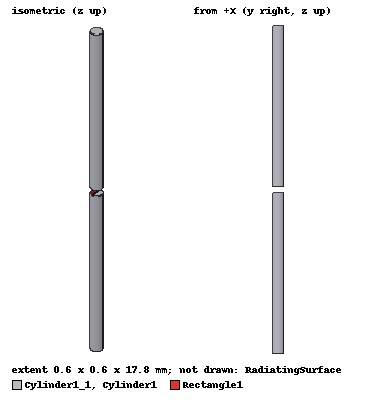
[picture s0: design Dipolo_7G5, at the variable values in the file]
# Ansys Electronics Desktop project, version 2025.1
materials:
  vacuum: permittivity=1
  pec: conductivity=1e+30

design Dipolo_7G5 (HFSS, HFSS Hybrid Terminal Network, model units mm)
options: open_region{BoundaryType=0 OpFreq=7.5GHz}
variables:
  gap = 0.3mm
  rad = 0.3mm
  arm_length = 8.75mm
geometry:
  RadiatingSurface [vacuum] = region(absolute_offset=13.333333mm on all sides)
  Cylinder1 [pec] = cylinder(axis=Z, base_centre=(0mm, 0mm, gap/2), radius=rad, height=arm_length)
  Cylinder1_1 [pec] = Cylinder1.duplicate_around_axis(axis=X, angle=180deg, total=2)
  Rectangle1 = rectangle(corner=(-rad, 0mm, -gap/2), z_size=gap, x_size=2*rad)
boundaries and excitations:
  AutoOpen1: Radiation Objects=RadiatingSurface
  Rectangle1_T1: Terminal port=1 Edges=Rectangle1.edge(at (0, 0, 0.15)) TerminalResistance=50ohm
  1: Lumped Port Faces=Rectangle1.face LumpedPortType=Terminal Impedance=50ohm
  reference conductors: Cylinder1_1
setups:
  Auto1: HfssDriven Frequency=7.5GHz MaxDeltaS=0.02 MaximumPasses=10 MinimumPasses=1 MinimumConvergedPasses=1 PercentRefinement=30 BasisOrder=1 PortAccuracy=2 DrivenSolverType="Direct Solver"
    sweep Sweep: 3GHz to 12GHz step 0.01GHz; Type=Interpolating InterpTolerance=0.5 InterpMaxSolns=250 PassivityErrorTolerance=0.0001
    sweep Sweep1: 3GHz to 13GHz step 0.1GHz; point 16.84GHz; point 4.21GHz; Type=Discrete SaveFields
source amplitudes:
  1:1: 1V 0deg
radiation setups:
  3D: Infinite Sphere Theta=0deg..180deg step 2deg Phi=-180deg..180deg step 2deg
  Elevation: Infinite Sphere Theta=-180deg..180deg step 1deg Phi=0deg..90deg step 90deg
  Azimuth: Infinite Sphere Theta=90deg..90deg step 0deg Phi=-180deg..180deg step 1deg
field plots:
  ComplexMag_Jsurf1: Jsurf over Cylinder1.face(all 3) Cylinder1_1.face(all 3) on Auto1 : Sweep1 at Freq=4.21GHz Phase=0deg
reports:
  Terminal S Parameter Plot1: dB(St(Rectangle1_T1,Rectangle1_T1)) vs Freq on Auto1 : Sweep; markers m1 at 7.5GHz, m2 at 7.99GHz, m3 at 7.08GHz
  Terminal Z Parameter Plot1: re(Zt(Rectangle1_T1,Rectangle1_T1)), im(Zt(Rectangle1_T1,Rectangle1_T1)) vs Freq on Auto1 : Sweep [arm_length=8.75mm]; markers m1 at 7.5GHz, m3 at 7.5GHz, m4 at 7.5GHz, m5 at 7.5GHz, m6 at 7.61GHz
  Antenna Params Plot2: dB(PeakRealizedGain) vs Freq on Auto1 : Sweep1 [arm_length=all]; markers m1 at 7.5GHz, m2 at 6.4GHz, MY1 at y=-25, MY2 at y=-0.57377
  Antenna Params Plot2_1: TotalEfficiency vs Freq on Auto1 : Sweep1 [arm_length=all]; markers m2 at 7.5GHz
  Gain Plot1: dB(GainTotal) vs Phi, Theta on Auto1 : LastAdaptive, 3D [Freq=7.5GHz arm_length=8.75mm]
  Directivity Plot1: dB(DirTotal) vs Phi, Theta on Auto1 : LastAdaptive, 3D [Freq=7.5GHz arm_length=8.75mm]
  Gain Plot2: dB(GainTotal) vs Phi on Auto1 : LastAdaptive, Azimuth [Theta=all Freq=7.5GHz arm_length=8.75mm]; dB(GainTotal) vs Theta on Auto1 : LastAdaptive, Elevation [Phi=0deg Freq=7.5GHz arm_length=8.75mm]
  Gain Plot2_16: dB(GainTotal) vs Phi on Auto1 : Sweep1, Azimuth [Theta=all Freq=16.84GHz arm_length=8.75mm]; dB(GainTotal) vs Theta on Auto1 : Sweep1, Elevation [Phi=0deg Freq=16.84GHz arm_length=8.75mm]
  Gain Plot2_4: dB(GainTotal) vs Phi on Auto1 : Sweep1, Azimuth [Theta=all Freq=4.21GHz arm_length=8.75mm]; dB(GainTotal) vs Theta on Auto1 : Sweep1, Elevation [Phi=0deg Freq=4.21GHz arm_length=8.75mm]
